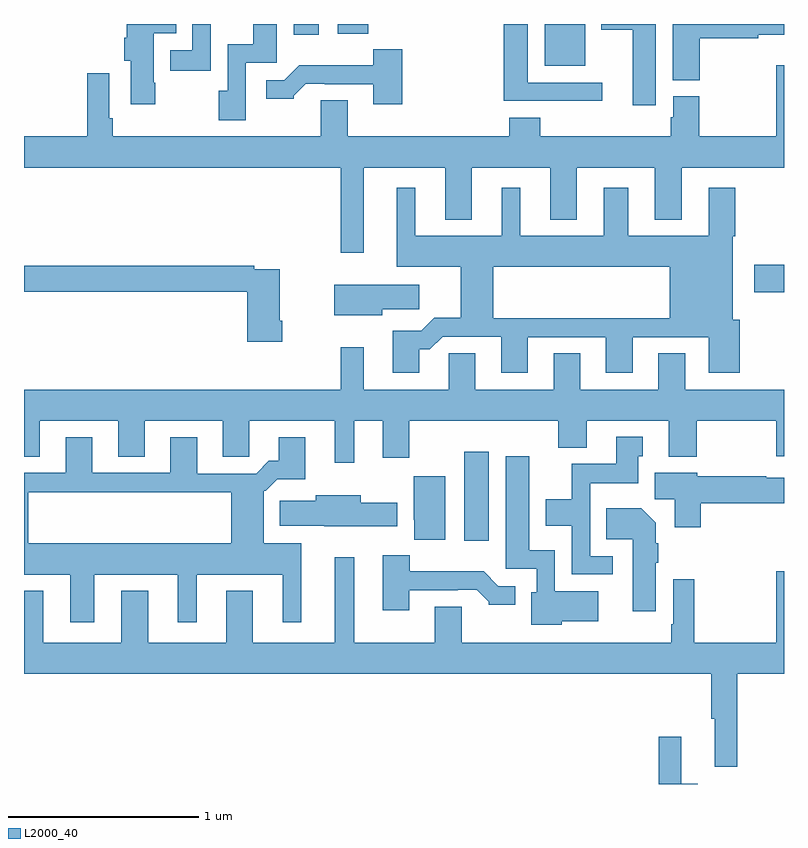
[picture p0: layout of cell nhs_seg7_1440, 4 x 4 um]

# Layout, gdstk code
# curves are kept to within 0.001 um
import gdstk
lib = gdstk.Library(unit=1e-6, precision=1e-09)
def R(c, l, rs):  # rectangles x0, y0, x1, y1
    for r in rs: c.add(gdstk.rectangle(r[:2], r[2:], *l))
def P(c, l, *ps):  # polygons
    for p in ps: c.add(gdstk.Polygon(p, *l))
L2000_40 = (2000, 40)

nhs_seg7_1440 = lib.new_cell('nhs_seg7_1440')
R(nhs_seg7_1440, L2000_40, [(211.316,1037.28,211.447,1037.749), (212.844,1038.587,213,1038.734), (211.742,1039.781,211.954,1040), (210.419,1039.944,210.55,1040), (210.65,1039.949,210.812,1040)])
P(nhs_seg7_1440, L2000_40, [(209.982,1040),(209.886,1040),(209.886,1039.863),(209.769,1039.863),(209.769,1039.755),(209.982,1039.755)],
  [(212.556,1039.924),(212.864,1039.924),(212.864,1039.943),(213,1039.943),(213,1040),(212.414,1040),(212.414,1039.705),(212.556,1039.705)],
  [(209.691,1039.69),(209.683,1039.69),(209.683,1039.952),(209.801,1039.952),(209.801,1040),(209.54,1040),(209.54,1039.928),(209.528,1039.928),(209.528,1039.806),(209.561,1039.806),(209.561,1039.578),(209.691,1039.578)],
  [(212.326,1040),(212.039,1040),(212.039,1039.97),(212.204,1039.97),(212.204,1039.572),(212.326,1039.572)],
  [(210.168,1039.797),(210.331,1039.797),(210.331,1040),(210.206,1040),(210.206,1039.894),(210.072,1039.894),(210.072,1039.65),(210.025,1039.65),(210.025,1039.494),(210.168,1039.494)],
  [(212.044,1039.692),(211.651,1039.692),(211.651,1040),(211.526,1040),(211.526,1039.595),(212.044,1039.595)],
  [(210.992,1039.867),(210.837,1039.867),(210.837,1039.783),(210.448,1039.783),(210.369,1039.704),(210.276,1039.704),(210.276,1039.607),(210.42,1039.607),(210.42,1039.622),(210.484,1039.686),(210.583,1039.686),(210.583,1039.683),(210.839,1039.683),(210.839,1039.578),(210.992,1039.578)],
  [(210.787,1039.244),(211.217,1039.244),(211.217,1038.971),(211.357,1038.971),(211.357,1039.244),(211.769,1039.244),(211.769,1038.971),(211.909,1038.971),(211.909,1039.244),(212.321,1039.244),(212.321,1038.971),(212.461,1038.971),(212.461,1039.244),(213,1039.244),(213,1039.783),(212.96,1039.783),(212.96,1039.408),(212.553,1039.408),(212.553,1039.62),(212.417,1039.62),(212.417,1039.509),(212.405,1039.509),(212.405,1039.408),(211.718,1039.408),(211.718,1039.507),(211.553,1039.507),(211.553,1039.408),(210.703,1039.408),(210.703,1039.598),(210.563,1039.598),(210.563,1039.408),(209.468,1039.408),(209.468,1039.504),(209.448,1039.504),(209.448,1039.741),(209.332,1039.741),(209.332,1039.408),(209,1039.408),(209,1039.244),(210.666,1039.244),(210.666,1038.795),(210.787,1038.795)],
  [(210.941,1038.385),(210.941,1038.165),(211.081,1038.165),(211.081,1038.287),(211.136,1038.287),(211.203,1038.354),(211.511,1038.354),(211.511,1038.165),(211.651,1038.165),(211.651,1038.351),(212.063,1038.351),(212.063,1038.165),(212.203,1038.165),(212.203,1038.351),(212.603,1038.351),(212.603,1038.165),(212.768,1038.165),(212.768,1038.444),(212.731,1038.444),(212.731,1038.882),(212.744,1038.882),(212.744,1039.138),(212.603,1039.138),(212.603,1038.886),(212.179,1038.886),(212.179,1039.138),(212.051,1039.138),(212.051,1038.886),(211.612,1038.886),(211.612,1039.138),(211.514,1039.138),(211.514,1038.886),(211.06,1038.886),(211.06,1039.138),(210.962,1039.138),(210.962,1038.722),(211.298,1038.722),(211.298,1038.455),(211.16,1038.455),(211.157,1038.452),(211.469,1038.452),(211.469,1038.722),(212.399,1038.722),(212.399,1038.452),(211.157,1038.452),(211.09,1038.385)],
  [(210.359,1038.439),(210.346,1038.439),(210.346,1038.708),(210.212,1038.708),(210.212,1038.728),(209,1038.728),(209,1038.592),(210.176,1038.592),(210.176,1038.327),(210.359,1038.327)],
  [(210.886,1038.499),(211.081,1038.499),(211.081,1038.628),(210.632,1038.628),(210.632,1038.467),(210.886,1038.467)],
  [(210.739,1037.912),(210.887,1037.912),(210.887,1037.718),(211.027,1037.718),(211.027,1037.912),(211.811,1037.912),(211.811,1037.771),(211.963,1037.771),(211.963,1037.912),(212.393,1037.912),(212.393,1037.723),(212.541,1037.723),(212.541,1037.912),(212.96,1037.912),(212.96,1037.724),(213,1037.724),(213,1038.076),(212.479,1038.076),(212.479,1038.266),(212.339,1038.266),(212.339,1038.076),(211.927,1038.076),(211.927,1038.266),(211.787,1038.266),(211.787,1038.076),(211.375,1038.076),(211.375,1038.266),(211.236,1038.266),(211.236,1038.076),(210.787,1038.076),(210.787,1038.298),(210.666,1038.298),(210.666,1038.076),(209,1038.076),(209,1037.722),(209.083,1037.722),(209.083,1037.912),(209.495,1037.912),(209.495,1037.722),(209.635,1037.722),(209.635,1037.912),(210.047,1037.912),(210.047,1037.722),(210.186,1037.722),(210.186,1037.912),(210.635,1037.912),(210.635,1037.691),(210.739,1037.691)],
  [(212.098,1037.199),(211.98,1037.199),(211.98,1037.582),(212.233,1037.582),(212.233,1037.724),(212.257,1037.724),(212.257,1037.827),(212.117,1037.827),(212.117,1037.686),(211.882,1037.686),(211.882,1037.5),(211.745,1037.5),(211.745,1037.36),(211.884,1037.36),(211.884,1037.103),(212.098,1037.103)],
  [(209.243,1037.102),(209.243,1036.851),(209.371,1036.851),(209.371,1037.102),(209.81,1037.102),(209.81,1036.851),(209.908,1036.851),(209.908,1037.102),(210.362,1037.102),(210.362,1036.851),(210.46,1036.851),(210.46,1037.266),(210.262,1037.266),(210.262,1037.544),(210.273,1037.544),(210.332,1037.603),(210.481,1037.603),(210.481,1037.824),(210.341,1037.824),(210.341,1037.701),(210.289,1037.701),(210.222,1037.634),(209.911,1037.634),(209.911,1037.824),(209.771,1037.824),(209.771,1037.637),(209.359,1037.637),(209.359,1037.824),(209.219,1037.824),(209.219,1037.637),(209,1037.637),(209,1037.266),(209.023,1037.266),(209.023,1037.536),(210.092,1037.536),(210.092,1037.266),(209,1037.266),(209,1037.102)],
  [(211.83,1036.856),(212.023,1036.856),(212.023,1037.014),(211.794,1037.014),(211.794,1037.23),(211.66,1037.23),(211.66,1037.725),(211.535,1037.725),(211.535,1037.133),(211.698,1037.133),(211.698,1037.01),(211.67,1037.01),(211.67,1036.838),(211.83,1036.838)],
  [(212.561,1037.477),(213,1037.477),(213,1037.611),(212.906,1037.611),(212.906,1037.619),(212.544,1037.619),(212.544,1037.638),(212.321,1037.638),(212.321,1037.5),(212.426,1037.5),(212.426,1037.352),(212.561,1037.352)],
  [(211.216,1037.62),(211.052,1037.62),(211.052,1037.392),(211.054,1037.392),(211.054,1037.285),(211.216,1037.285)],
  [(210.964,1037.479),(210.772,1037.479),(210.772,1037.521),(210.536,1037.521),(210.536,1037.49),(210.347,1037.49),(210.347,1037.36),(210.579,1037.36),(210.579,1037.357),(210.964,1037.357)],
  [(212.326,1037.164),(212.339,1037.164),(212.339,1037.267),(212.326,1037.267),(212.326,1037.374),(212.248,1037.452),(212.065,1037.452),(212.065,1037.288),(212.204,1037.288),(212.204,1036.908),(212.326,1036.908)],
  [(211.027,1037.019),(211.283,1037.019),(211.283,1037.022),(211.382,1037.022),(211.446,1036.958),(211.446,1036.943),(211.585,1036.943),(211.585,1037.04),(211.497,1037.04),(211.419,1037.119),(211.03,1037.119),(211.03,1037.203),(210.887,1037.203),(210.887,1036.914),(211.027,1036.914)],
  [(212.753,1036.58),(213,1036.58),(213,1037.119),(212.96,1037.119),(212.96,1036.744),(212.527,1036.744),(212.527,1037.077),(212.418,1037.077),(212.418,1036.84),(212.406,1036.84),(212.406,1036.744),(211.303,1036.744),(211.303,1036.934),(211.163,1036.934),(211.163,1036.744),(210.739,1036.744),(210.739,1037.194),(210.635,1037.194),(210.635,1036.744),(210.205,1036.744),(210.205,1037.017),(210.065,1037.017),(210.065,1036.744),(209.653,1036.744),(209.653,1037.017),(209.513,1037.017),(209.513,1036.744),(209.101,1036.744),(209.101,1037.017),(209,1037.017),(209,1036.58),(212.617,1036.58),(212.617,1036.344),(212.636,1036.344),(212.636,1036.092),(212.753,1036.092)],
  [(212.545,1036.001),(212.459,1036.001),(212.459,1036.249),(212.341,1036.249),(212.341,1036),(212.545,1036)])

lib.write_gds('nhs_seg7_1440.gds')
